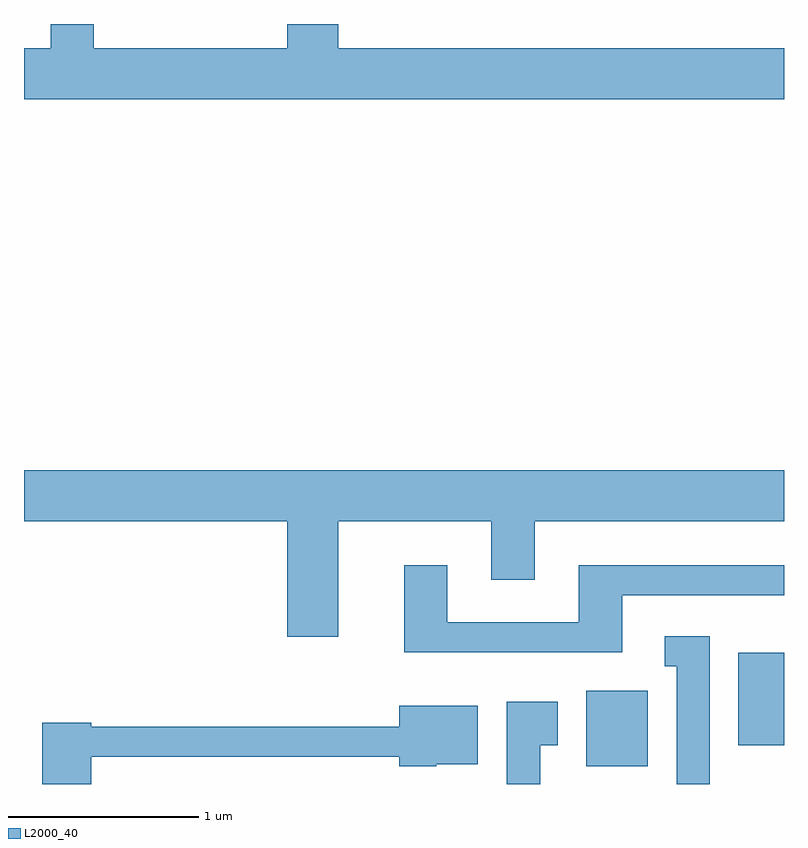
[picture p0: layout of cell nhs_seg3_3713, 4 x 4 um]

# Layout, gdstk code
import gdstk
lib = gdstk.Library(unit=1e-6, precision=1e-09)
def R(c, l, rs):  # rectangles x0, y0, x1, y1
    for r in rs: c.add(gdstk.rectangle(r[:2], r[2:], *l))
def P(c, l, *ps):  # polygons
    for p in ps: c.add(gdstk.Polygon(p, *l))
L2000_40 = (2000, 40)

nhs_seg3_3713 = lib.new_cell('nhs_seg3_3713')
R(nhs_seg3_3713, L2000_40, [(296.571,1197.986,296.894,1198.384), (297.371,1198.096,297.611,1198.584)])
P(nhs_seg3_3713, L2000_40, [(297.611,1201.764),(295.264,1201.764),(295.264,1201.892),(294.996,1201.892),(294.996,1201.764),(293.979,1201.764),(293.979,1201.892),(293.751,1201.892),(293.751,1201.764),(293.611,1201.764),(293.611,1201.496),(297.611,1201.496)],
  [(295.264,1199.276),(296.071,1199.276),(296.071,1198.966),(296.299,1198.966),(296.299,1199.276),(297.611,1199.276),(297.611,1199.544),(293.611,1199.544),(293.611,1199.276),(294.996,1199.276),(294.996,1198.666),(295.264,1198.666)],
  [(296.759,1198.886),(297.611,1198.886),(297.611,1199.044),(296.531,1199.044),(296.531,1198.744),(295.839,1198.744),(295.839,1199.044),(295.611,1199.044),(295.611,1198.586),(296.759,1198.586)],
  [(297.219,1198.669),(296.983,1198.669),(296.983,1198.511),(297.046,1198.511),(297.046,1197.892),(297.219,1197.892)],
  [(296.329,1198.096),(296.419,1198.096),(296.419,1198.324),(296.151,1198.324),(296.151,1197.892),(296.329,1197.892)],
  [(293.964,1198.036),(295.586,1198.036),(295.586,1197.986),(295.78,1197.986),(295.78,1197.996),(295.999,1197.996),(295.999,1198.304),(295.586,1198.304),(295.586,1198.194),(293.964,1198.194),(293.964,1198.214),(293.706,1198.214),(293.706,1197.892),(293.964,1197.892)])

lib.write_gds('nhs_seg3_3713.gds')
